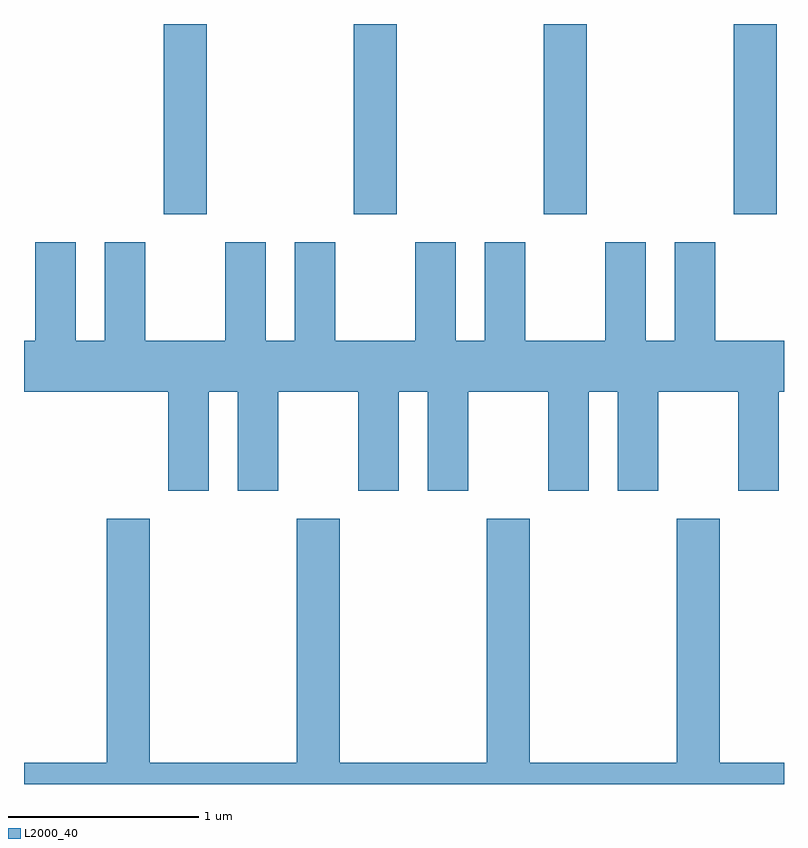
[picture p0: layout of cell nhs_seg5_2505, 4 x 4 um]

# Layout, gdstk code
import gdstk
lib = gdstk.Library(unit=1e-6, precision=1e-09)
def R(c, l, rs):  # rectangles x0, y0, x1, y1
    for r in rs: c.add(gdstk.rectangle(r[:2], r[2:], *l))
def A(c, l, x, y, w, h, nx, ny, dx, dy):  # array of equal rectangles
    R(c, l, [(x+i*dx, y+j*dy, x+i*dx+w, y+j*dy+h) for i in range(nx) for j in range(ny)])
def P(c, l, *ps):  # polygons
    for p in ps: c.add(gdstk.Polygon(p, *l))
L2000_40 = (2000, 40)

nhs_seg5_2505 = lib.new_cell('nhs_seg5_2505')
A(nhs_seg5_2505, L2000_40, 260.346, 1451.071, 0.228, 1.001, 4, 1, 1, 0)
P(nhs_seg5_2505, L2000_40, [(260.584,1450.136),(260.736,1450.136),(260.736,1449.616),(260.949,1449.616),(260.949,1450.136),(261.371,1450.136),(261.371,1449.616),(261.584,1449.616),(261.584,1450.136),(261.736,1450.136),(261.736,1449.616),(261.949,1449.616),(261.949,1450.136),(262.371,1450.136),(262.371,1449.616),(262.584,1449.616),(262.584,1450.136),(262.736,1450.136),(262.736,1449.616),(262.949,1449.616),(262.949,1450.136),(263.371,1450.136),(263.371,1449.616),(263.584,1449.616),(263.584,1450.136),(263.611,1450.136),(263.611,1450.404),(263.249,1450.404),(263.249,1450.924),(263.036,1450.924),(263.036,1450.404),(262.884,1450.404),(262.884,1450.924),(262.671,1450.924),(262.671,1450.404),(262.249,1450.404),(262.249,1450.924),(262.036,1450.924),(262.036,1450.404),(261.884,1450.404),(261.884,1450.924),(261.671,1450.924),(261.671,1450.404),(261.249,1450.404),(261.249,1450.924),(261.036,1450.924),(261.036,1450.404),(260.884,1450.404),(260.884,1450.924),(260.671,1450.924),(260.671,1450.404),(260.249,1450.404),(260.249,1450.924),(260.036,1450.924),(260.036,1450.404),(259.884,1450.404),(259.884,1450.924),(259.671,1450.924),(259.671,1450.404),(259.611,1450.404),(259.611,1450.136),(260.371,1450.136),(260.371,1449.616),(260.584,1449.616)],
  [(263.611,1448.184),(263.274,1448.184),(263.274,1449.469),(263.046,1449.469),(263.046,1448.184),(262.274,1448.184),(262.274,1449.469),(262.046,1449.469),(262.046,1448.184),(261.274,1448.184),(261.274,1449.469),(261.046,1449.469),(261.046,1448.184),(260.274,1448.184),(260.274,1449.469),(260.046,1449.469),(260.046,1448.184),(259.611,1448.184),(259.611,1448.072),(263.611,1448.072)])

lib.write_gds('nhs_seg5_2505.gds')
